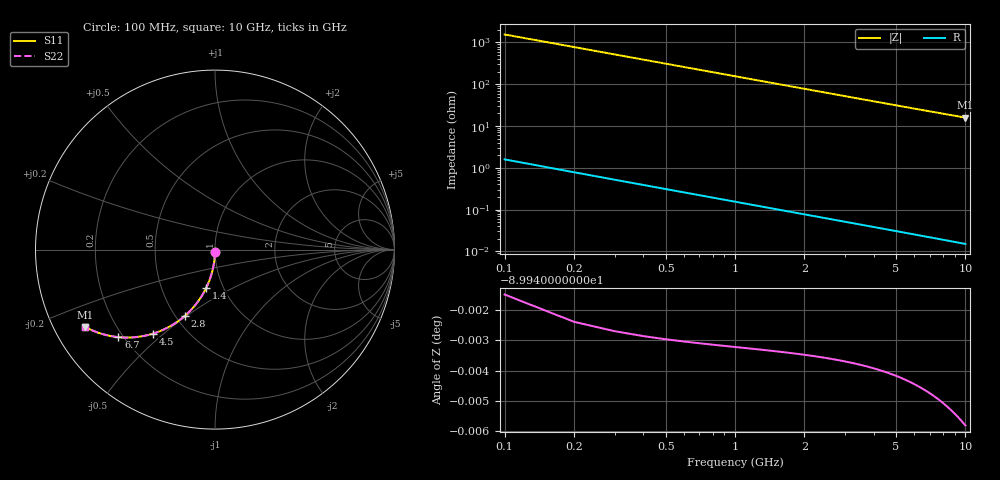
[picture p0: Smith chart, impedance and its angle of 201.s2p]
# Hz S RI R 50.00
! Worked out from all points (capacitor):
!   100 points, 100 MHz to 10 GHz, reference 50 ohm
!   read as one part in shunt: C = 1.02 pF near 100 MHz
!   lowest |Z| = 15.9 ohm at 10 GHz (marker M1)
!   S11 on the Smith chart (normalised r, x): 100 MHz: 1.00, -0.03; 1.4 GHz: 0.83, -0.37; 2.8 GHz: 0.56, -0.49; 4.5 GHz: 0.33, -0.46; 6.7 GHz: 0.18, -0.37; 10 GHz: 0.09, -0.27
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1e8  -0.00025 -0.0159  0.9997 -0.0162  0.9997 -0.0162  -0.00025 -0.0159
2e8  -0.00104 -0.0318  0.9989 -0.0324  0.9989 -0.0324  -0.00104 -0.0318
3e8  -0.00235 -0.0477  0.9976 -0.0486  0.9976 -0.0486  -0.00235 -0.0477
4e8  -0.00416 -0.0635  0.9958 -0.0647  0.9958 -0.0647  -0.00416 -0.0635
5e8  -0.00648 -0.0792  0.9935 -0.0806  0.9935 -0.0806  -0.00648 -0.0792
6e8  -0.00929 -0.0947  0.9907 -0.0965  0.9907 -0.0965  -0.00929 -0.0947
7e8  -0.0126 -0.1101  0.9873 -0.1122  0.9873 -0.1122  -0.0126 -0.1101
9e8  -0.0206 -0.1404  0.9793 -0.1431  0.9793 -0.1431  -0.0206 -0.1404
1.1e9  -0.0305 -0.1699  0.9695 -0.1731  0.9695 -0.1731  -0.0305 -0.1699
1.4e9  -0.0484 -0.2121  0.9515 -0.2163  0.9515 -0.2163  -0.0484 -0.2121
1.8e9  -0.0775 -0.2643  0.9224 -0.2697  0.9224 -0.2697  -0.0775 -0.2643
2.3e9  -0.1206 -0.3218  0.8793 -0.3287  0.8793 -0.3287  -0.1206 -0.3218
2.8e9  -0.1689 -0.3699  0.8311 -0.3784  0.8311 -0.3784  -0.1689 -0.3699
3.4e9  -0.2304 -0.4155  0.7694 -0.4258  0.7694 -0.4258  -0.2304 -0.4155
3.9e9  -0.2826 -0.4439  0.7173 -0.4557  0.7173 -0.4557  -0.2826 -0.4439
4.5e9  -0.344 -0.4677  0.6558 -0.4814  0.6558 -0.4814  -0.344 -0.4677
5.1e9  -0.4025 -0.4821  0.5973 -0.4977  0.5973 -0.4977  -0.4025 -0.4821
5.9e9  -0.4742 -0.4898  0.5256 -0.5079  0.5256 -0.5079  -0.4742 -0.4898
6.7e9  -0.5378 -0.4877  0.462 -0.5084  0.462 -0.5084  -0.5378 -0.4877
7.5e9  -0.5933 -0.4791  0.4064 -0.5023  0.4064 -0.5023  -0.5933 -0.4791
8.4e9  -0.6468 -0.4643  0.3528 -0.4905  0.3528 -0.4905  -0.6468 -0.4643
1e10  -0.7223 -0.4315  0.2772 -0.463  0.2772 -0.463  -0.7223 -0.4315
